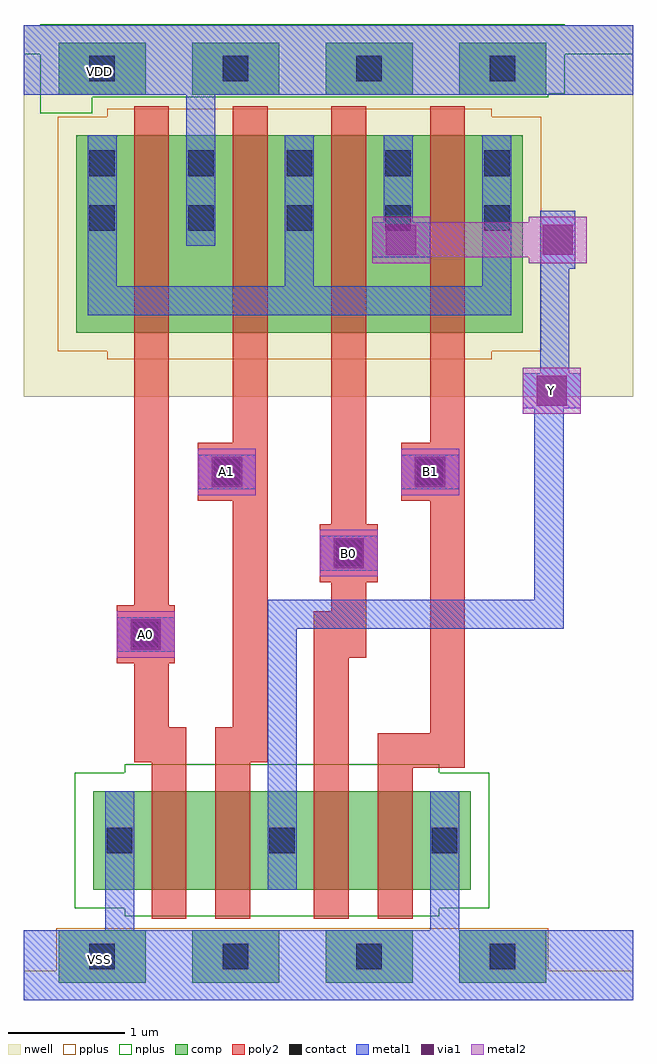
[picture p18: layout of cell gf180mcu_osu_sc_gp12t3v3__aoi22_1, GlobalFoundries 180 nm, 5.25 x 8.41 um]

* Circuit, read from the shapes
.subckt gf180mcu_osu_sc_gp12t3v3__aoi22_1 A0 A1 B0 B1 VDD VSS Y
XM1 n1 A0 VSS VSS nfet_03v3 w=0.85u l=0.3u
XM2 Y A1 n1 VSS nfet_03v3 w=0.85u l=0.3u
XM3 n2 B0 Y VSS nfet_03v3 w=0.85u l=0.3u
XM4 VSS B1 n2 VSS nfet_03v3 w=0.85u l=0.3u
XM5 VDD A0 n3 VDD pfet_03v3 w=1.7u l=0.3u
XM6 n3 A1 VDD VDD pfet_03v3 w=1.7u l=0.3u
XM7 Y B0 n3 VDD pfet_03v3 w=1.7u l=0.3u
XM8 n3 B1 Y VDD pfet_03v3 w=1.7u l=0.3u
.ends

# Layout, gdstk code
import gdstk
lib = gdstk.Library(unit=1e-6, precision=1e-09)
def R(c, l, rs):  # rectangles x0, y0, x1, y1
    for r in rs: c.add(gdstk.rectangle(r[:2], r[2:], *l))
def A(c, l, x, y, w, h, nx, ny, dx, dy):  # array of equal rectangles
    R(c, l, [(x+i*dx, y+j*dy, x+i*dx+w, y+j*dy+h) for i in range(nx) for j in range(ny)])
nwell = (21, 0)
comp = (22, 0)
poly2 = (30, 0)
pplus = (31, 0)
nplus = (32, 0)
contact = (33, 0)
metal1 = (34, 0)
via1 = (35, 0)
metal2 = (36, 0)

gf180mcu_osu_sc_gp12t3v3 = lib.new_cell('gf180mcu_osu_sc_gp12t3v3__aoi22_1')
R(gf180mcu_osu_sc_gp12t3v3, nwell, [(0,5.2,5.25,8.4)])
A(gf180mcu_osu_sc_gp12t3v3, comp, 0.3, 0.15, 0.75, 0.45, 4, 2, 1.15, 7.65)
R(gf180mcu_osu_sc_gp12t3v3, comp, [(0.6,0.95,3.85,1.8), (0.45,5.75,4.3,7.45)])
R(gf180mcu_osu_sc_gp12t3v3, poly2, [(1.1,0.7,1.4,2.05), (1.65,0.7,1.95,2.05), (2.5,0.7,2.8,2.95), (3.05,0.7,3.35,2), (3.05,2,3.8,2.3), (0.95,2.05,1.4,2.35), (1.65,2.05,2.1,2.35), (3.5,2.3,3.8,4.3), (0.95,2.35,1.25,2.9), (1.8,2.35,2.1,4.3), (0.8,2.9,1.3,3.4), (2.5,2.95,2.95,3.35), (2.65,3.35,2.95,3.6), (0.95,3.4,1.25,7.7), (2.55,3.6,3.05,4.1), (2.65,4.1,2.95,7.7), (1.5,4.3,2.1,4.8), (3.25,4.3,3.8,4.8), (1.8,4.8,2.1,7.7), (3.5,4.8,3.8,7.7)])
R(gf180mcu_osu_sc_gp12t3v3, pplus, [(0,0,5.25,0.25), (0.28,0.13,4.52,0.62), (0.72,5.52,4.03,5.59), (0.29,5.59,4.46,7.61), (0.72,7.61,4.03,7.68)])
R(gf180mcu_osu_sc_gp12t3v3, nplus, [(0.87,0.72,3.58,0.79), (0.44,0.79,4.01,1.96), (0.87,1.96,3.58,2.03), (0.14,7.64,0.59,7.78), (0.14,7.78,4.52,7.81), (0.14,7.81,4.66,8.15), (0,8.15,5.25,8.4), (0,8.15,5.25,8.4), (0.14,8.4,4.66,8.41)])
A(gf180mcu_osu_sc_gp12t3v3, contact, 0.565, 0.265, 0.22, 0.22, 4, 2, 1.15, 7.65)
A(gf180mcu_osu_sc_gp12t3v3, contact, 0.715, 1.265, 0.22, 0.22, 3, 1, 1.4, 0)
A(gf180mcu_osu_sc_gp12t3v3, contact, 0.565, 6.63, 0.22, 0.22, 5, 2, 0.85, 0.47)
R(gf180mcu_osu_sc_gp12t3v3, contact, [(0.94,3.04,1.16,3.26), (2.69,3.74,2.91,3.96), (1.64,4.44,1.86,4.66), (3.39,4.44,3.61,4.66)])
A(gf180mcu_osu_sc_gp12t3v3, metal1, 0.55, 6.15, 0.25, 1.3, 3, 1, 1.7, 0)
R(gf180mcu_osu_sc_gp12t3v3, metal1, [(0,0,5.25,0.6), (0.7,0.6,0.95,1.8), (3.5,0.6,3.75,1.8), (2.1,0.95,2.35,3.2), (0.8,3,1.3,3.3), (2.1,3.2,4.65,3.45), (4.4,3.45,4.65,5.1), (2.55,3.7,3.05,4), (1.5,4.4,2,4.7), (3.25,4.4,3.75,4.7), (4.3,5.1,4.8,5.4), (4.45,5.4,4.7,6.3), (0.55,5.9,4.2,6.15), (4.45,6.3,4.75,6.8), (3,6.4,3.5,6.7), (1.4,6.5,1.65,7.8), (3.1,6.7,3.35,7.45), (0,7.8,5.25,8.4)])
R(gf180mcu_osu_sc_gp12t3v3, via1, [(0.92,3.02,1.18,3.28), (2.67,3.72,2.93,3.98), (1.62,4.42,1.88,4.68), (3.37,4.42,3.63,4.68), (4.42,5.12,4.68,5.38), (3.12,6.42,3.38,6.68), (4.47,6.42,4.73,6.68)])
R(gf180mcu_osu_sc_gp12t3v3, metal2, [(0.8,2.95,1.3,3.35), (2.55,3.65,3.05,4.05), (1.5,4.35,2,4.75), (3.25,4.35,3.75,4.75), (4.3,5.05,4.8,5.45), (3,6.35,3.5,6.4), (4.35,6.35,4.85,6.4), (3,6.4,4.85,6.7), (3,6.7,3.5,6.75), (4.35,6.7,4.85,6.75)])
gf180mcu_osu_sc_gp12t3v3.add(gdstk.Label('A1', (1.75,4.55), layer=36, texttype=10))
gf180mcu_osu_sc_gp12t3v3.add(gdstk.Label('A0', (1.05,3.15), layer=36, texttype=10))
gf180mcu_osu_sc_gp12t3v3.add(gdstk.Label('B0', (2.8,3.85), layer=36, texttype=10))
gf180mcu_osu_sc_gp12t3v3.add(gdstk.Label('B1', (3.5,4.55), layer=36, texttype=10))
gf180mcu_osu_sc_gp12t3v3.add(gdstk.Label('Y', (4.55,5.25), layer=36, texttype=10))
gf180mcu_osu_sc_gp12t3v3.add(gdstk.Label('VDD', (0.65,8), layer=34, texttype=10))
gf180mcu_osu_sc_gp12t3v3.add(gdstk.Label('VSS', (0.65,0.35), layer=34, texttype=10))

lib.write_gds('gf180mcu_osu_sc_gp12t3v3__aoi22_1.gds')
